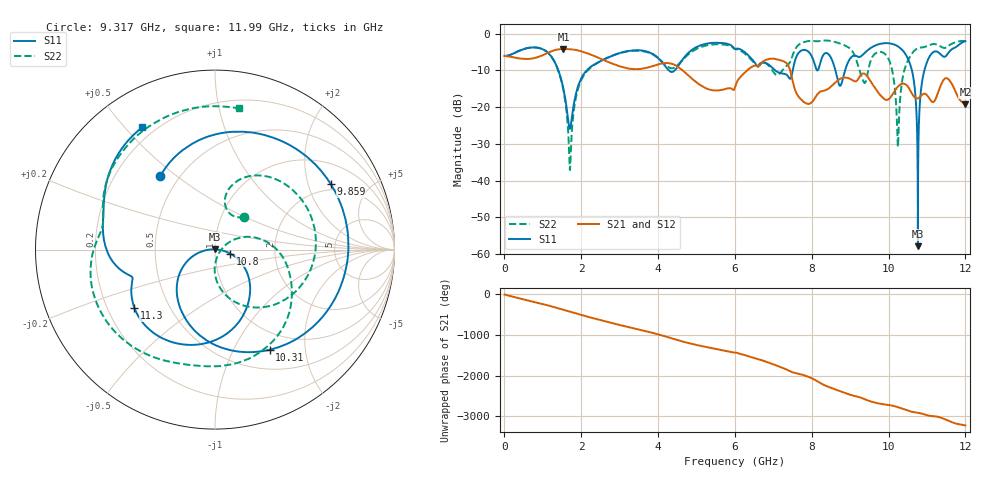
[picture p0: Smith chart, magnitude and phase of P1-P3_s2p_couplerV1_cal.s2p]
!Keysight Technologies,N5242B,US61255121,A.15.50.07
!Date: Tuesday, October 28, 2025 15:19:35
!Correction: S11(C  2-Port  )
!S21(C  2-Port  )
!S12(C  2-Port  )
!S22(C  2-Port  )
!S2P File: Measurements: S11, S21, S12, S22:
# Hz S  dB  R 50
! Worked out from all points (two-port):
!   11991 points, 10 MHz to 12 GHz, reference 50 ohm
!   highest |S21| = -4.14 dB at 1.542 GHz (marker M1); lowest = -19.2 dB at 12 GHz (marker M2)
!   |S21| within 3 dB of the highest: start of sweep to 2.587 GHz; 6.802 GHz to 7.16 GHz (358.6 MHz wide, 5.14 % of centre)
!   lowest |S11| = -57.9 dB at 10.76 GHz (marker M3), VSWR 1.00, Z = 50.1 + j0.113 ohm
!   |S11| at or under -10 dB: 1.409 GHz to 2.144 GHz (735.3 MHz wide, 41.4 % of centre); 7.052 GHz to 7.507 GHz (454.3 MHz wide, 6.24 % of centre); 10.61 GHz to 10.93 GHz (323.6 MHz wide, 3 % of centre) (the widest 3 of 5)
!   |S22| runs from -37.2 to -1.8 dB; largest |S21 - S12| = 0.0023
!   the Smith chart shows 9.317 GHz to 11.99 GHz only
!   S11 on the Smith chart (normalised r, x): 9.317 GHz: 0.40, +0.44; 9.859 GHz: 1.74, +2.82; 10.31 GHz: 0.75, -1.40; 10.8 GHz: 1.18, -0.05; 11.3 GHz: 0.31, -0.30; 11.99 GHz: 0.15, +0.56
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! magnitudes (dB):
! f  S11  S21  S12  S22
! 10 MHz  -6.0  -6.0  -6.0  -6.0
! 1.048 GHz  -4.5  -5.6  -5.6  -4.4
! 1.542 GHz  -15.1  -4.1  -4.1  -15.5
! 1.715 GHz  -25.8  -4.2  -4.2  -36.7
! 2.009 GHz  -12.1  -4.8  -4.8  -12.5
! 4.007 GHz  -6.6  -8.3  -8.3  -6.6
! 6.005 GHz  -4.1  -14.6  -14.6  -4.2
! 7.067 GHz  -10.1  -6.9  -6.9  -11.1
! 8.004 GHz  -6.2  -18.7  -18.6  -2.0
! 8.741 GHz  -14.2  -12.3  -12.3  -2.7
! 9.317 GHz  -5.8  -10.9  -10.8  -12.2
! 9.859 GHz  -2.6  -17.5  -17.5  -5.1
! 10 GHz  -2.6  -17.8  -17.8  -6.9
! 10.23 GHz  -3.3  -14.6  -14.6  -27.1
! 10.31 GHz  -3.9  -13.8  -13.8  -16.9
! 10.61 GHz  -10.1  -16.4  -16.3  -5.4
! 10.76 GHz  -57.9  -17.6  -17.6  -3.9
! 10.8 GHz  -21.2  -17.3  -17.3  -3.8
! 10.95 GHz  -9.3  -16.3  -16.3  -3.5
! 11.3 GHz  -5.1  -15.5  -15.6  -3.1
! 11.99 GHz  -2.0  -19.2  -19.2  -2.0
! 12 GHz  -2.0  -19.2  -19.2  -2.0
